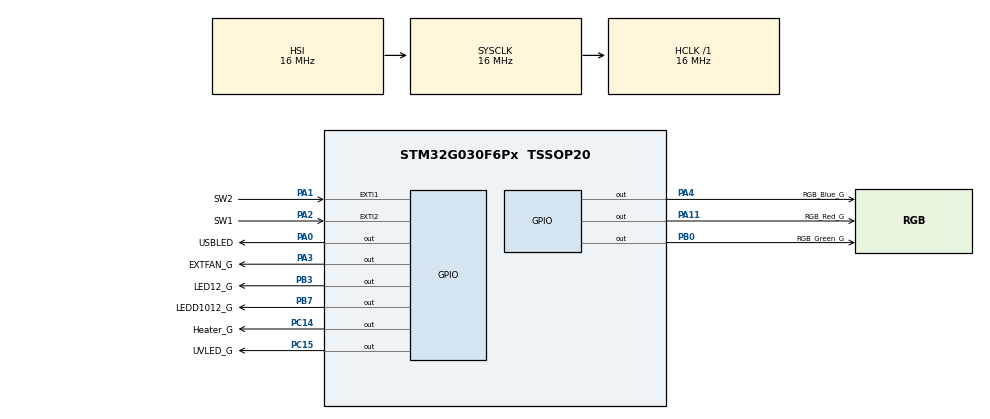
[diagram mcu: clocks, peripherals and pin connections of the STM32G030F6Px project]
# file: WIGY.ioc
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Mcu.Family=STM32G0
Mcu.Name=STM32G030F6Px
Mcu.Package=TSSOP20
NVIC.EXTI0_1_IRQn=true\:0\:0\:false\:false\:true\:true\:true\:true
NVIC.EXTI2_3_IRQn=true\:0\:0\:false\:false\:true\:true\:true\:true
PA0.GPIO_Label=USBLED
PA0.Signal=GPIO_Output
PA1.GPIO_Label=SW2
PA1.GPIO_ModeDefaultEXTI=GPIO_MODE_IT_FALLING
PA1.GPIO_PuPd=GPIO_PULLUP
PA1.Signal=GPXTI1
PA11\ [PA9].GPIO_Label=RGB_Red_G
PA11\ [PA9].GPIO_PuPd=GPIO_NOPULL
PA11\ [PA9].PinState=GPIO_PIN_RESET
PA11\ [PA9].Signal=GPIO_Output
PA13.Mode=Serial_Wire
PA13.Signal=SYS_SWDIO
PA14-BOOT0.Mode=Serial_Wire
PA14-BOOT0.Signal=SYS_SWCLK
PA14-BOOT0__PA15.StandardMode=true
PA2.GPIO_Label=SW1
PA2.GPIO_ModeDefaultEXTI=GPIO_MODE_IT_FALLING
PA2.GPIO_PuPd=GPIO_PULLUP
PA2.Signal=GPXTI2
PA3.GPIO_Label=EXTFAN_G
PA3.GPIO_PuPd=GPIO_NOPULL
PA3.Signal=GPIO_Output
PA4.GPIO_Label=RGB_Blue_G
PA4.GPIO_PuPd=GPIO_NOPULL
PA4.Signal=GPIO_Output
PB0.GPIO_Label=RGB_Green_G
PB0.GPIO_ModeDefaultOutputPP=GPIO_MODE_OUTPUT_PP
PB0.GPIO_PuPd=GPIO_NOPULL
PB0.PinState=GPIO_PIN_RESET
PB0.Signal=GPIO_Output
PB0__PB1__PB2__PA8.StandardMode=true
PB3.GPIO_Label=LED12_G
PB3.GPIO_PuPd=GPIO_NOPULL
PB3.Signal=GPIO_Output
PB3__PB4__PB5__PB6.StandardMode=true
PB7.GPIO_Label=LEDD1012_G
PB7.GPIO_PuPd=GPIO_NOPULL
PB7.Signal=GPIO_Output
PB7__PB8.StandardMode=true
PC14-OSC32_IN\ (PC14).GPIO_Label=Heater_G
PC14-OSC32_IN\ (PC14).Signal=GPIO_Output
PC14-OSC32_IN\ (PC14)__PB9.StandardMode=true
PC15-OSC32_OUT\ (PC15).GPIO_Label=UVLED_G
PC15-OSC32_OUT\ (PC15).GPIO_PuPd=GPIO_NOPULL
PC15-OSC32_OUT\ (PC15).Signal=GPIO_Output
ProjectManager.HeapSize=0x200
ProjectManager.StackSize=0x400
ProjectManager.TargetToolchain=STM32CubeIDE
RCC.AHBFreq_Value=16000000
RCC.CortexFreq_Value=16000000
RCC.EXTERNAL_CLOCK_VALUE=12288000
RCC.HCLKFreq_Value=16000000
RCC.HSE_VALUE=8000000
RCC.HSI_VALUE=16000000
RCC.LSE_VALUE=32768
RCC.SYSCLKFreq_VALUE=16000000
RCC.VCOOutputFreq_Value=128000000
board=custom

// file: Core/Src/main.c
/* USER CODE BEGIN Header */
/**
  ******************************************************************************
  * @file           : main.c
  * @brief          : Main program body
  ******************************************************************************
  * @attention
  *
  * Copyright (c) 2024 STMicroelectronics.
  * All rights reserved.
  *
  * This software is licensed under terms that can be found in the LICENSE file
  * in the root directory of this software component.
  * If no LICENSE file comes with this software, it is provided AS-IS.
  *
  ******************************************************************************
  */
/* USER CODE END Header */
#include "main.h"

/* USER CODE BEGIN Includes */
#include "wigy.h"

/* USER CODE END Includes */

/* USER CODE BEGIN PV */
WIGY_t my_wigy;
//Ptimer_t led_blink;

SW_t SW1, SW2;

/* USER CODE END PV */

void SystemClock_Config(void);
static void MX_GPIO_Init(void);
/* USER CODE BEGIN PFP */
// void initialize_pwp(Ptimer_t* _instance, uint32_t period, int repeat_cnt);
// void process_with_period(Ptimer_t* _instance);
bool SW_readPinSW2(void);
bool SW_readPinSW1(void);
void SW_OnPressedSW2Cbk(SW_t *);
void SW_OnPressedSW1Cbk(SW_t *);
/* USER CODE END PFP */

int main(void)
{

  /* MCU Configuration--------------------------------------------------------*/

  /* Reset of all peripherals, Initializes the Flash interface and the Systick. */
  HAL_Init();

  /* Configure the system clock */
  SystemClock_Config();

  /* Initialize all configured peripherals */
  MX_GPIO_Init();
  /* USER CODE BEGIN 2 */
  //initialize_pwp(&led_blink, 500, 5);

  SW_init(&SW1, true, SW_OnPressedSW1Cbk, SW_readPinSW1);
  SW_init(&SW2, true, SW_OnPressedSW2Cbk, SW_readPinSW2);

  HAL_GPIO_WritePin(USBLED_GPIO_Port, USBLED_Pin, 1);

  Init_wigy(&my_wigy);

  /* USER CODE END 2 */

  /* Infinite loop */
  while (1)
  {

    /* USER CODE BEGIN 3 */
	  process(&my_wigy);
	  //process_with_period(&led_blink);
  }
  /* USER CODE END 3 */
}

void SystemClock_Config(void)
{
  RCC_OscInitTypeDef RCC_OscInitStruct = {0};
  RCC_ClkInitTypeDef RCC_ClkInitStruct = {0};

  /** Configure the main internal regulator output voltage
  */
  HAL_PWREx_ControlVoltageScaling(PWR_REGULATOR_VOLTAGE_SCALE1);

  /** Initializes the RCC Oscillators according to the specified parameters
  * in the RCC_OscInitTypeDef structure.
  */
  RCC_OscInitStruct.OscillatorType = RCC_OSCILLATORTYPE_HSI;
  RCC_OscInitStruct.HSIState = RCC_HSI_ON;
  RCC_OscInitStruct.HSIDiv = RCC_HSI_DIV1;
  RCC_OscInitStruct.HSICalibrationValue = RCC_HSICALIBRATION_DEFAULT;
  RCC_OscInitStruct.PLL.PLLState = RCC_PLL_NONE;
  if (HAL_RCC_OscConfig(&RCC_OscInitStruct) != HAL_OK)
  {
    Error_Handler();
  }

  /** Initializes the CPU, AHB and APB buses clocks
  */
  RCC_ClkInitStruct.ClockType = RCC_CLOCKTYPE_HCLK|RCC_CLOCKTYPE_SYSCLK
                              |RCC_CLOCKTYPE_PCLK1;
  RCC_ClkInitStruct.SYSCLKSource = RCC_SYSCLKSOURCE_HSI;
  RCC_ClkInitStruct.AHBCLKDivider = RCC_SYSCLK_DIV1;
  RCC_ClkInitStruct.APB1CLKDivider = RCC_HCLK_DIV1;

  if (HAL_RCC_ClockConfig(&RCC_ClkInitStruct, FLASH_LATENCY_0) != HAL_OK)
  {
    Error_Handler();
  }
}

static void MX_GPIO_Init(void)
{
  GPIO_InitTypeDef GPIO_InitStruct = {0};

  /* GPIO Ports Clock Enable */
  __HAL_RCC_GPIOB_CLK_ENABLE();
  __HAL_RCC_GPIOC_CLK_ENABLE();
  __HAL_RCC_GPIOA_CLK_ENABLE();

  /*Configure GPIO pin Output Level */
  HAL_GPIO_WritePin(GPIOB, LEDD1012_G_Pin|RGB_Green_G_Pin|LED12_G_Pin, GPIO_PIN_RESET);

  /*Configure GPIO pin Output Level */
  HAL_GPIO_WritePin(GPIOC, Heater_G_Pin|UVLED_G_Pin, GPIO_PIN_RESET);

  /*Configure GPIO pin Output Level */
  HAL_GPIO_WritePin(GPIOA, USBLED_Pin|EXTFAN_G_Pin|RGB_Blue_G_Pin|RGB_Red_G_Pin, GPIO_PIN_RESET);

  /*Configure GPIO pins : LEDD1012_G_Pin RGB_Green_G_Pin LED12_G_Pin */
  GPIO_InitStruct.Pin = LEDD1012_G_Pin|RGB_Green_G_Pin|LED12_G_Pin;
  GPIO_InitStruct.Mode = GPIO_MODE_OUTPUT_PP;
  GPIO_InitStruct.Pull = GPIO_NOPULL;
  GPIO_InitStruct.Speed = GPIO_SPEED_FREQ_LOW;
  HAL_GPIO_Init(GPIOB, &GPIO_InitStruct);

  /*Configure GPIO pins : Heater_G_Pin UVLED_G_Pin */
  GPIO_InitStruct.Pin = Heater_G_Pin|UVLED_G_Pin;
  GPIO_InitStruct.Mode = GPIO_MODE_OUTPUT_PP;
  GPIO_InitStruct.Pull = GPIO_NOPULL;
  GPIO_InitStruct.Speed = GPIO_SPEED_FREQ_LOW;
  HAL_GPIO_Init(GPIOC, &GPIO_InitStruct);

  /*Configure GPIO pins : USBLED_Pin EXTFAN_G_Pin RGB_Blue_G_Pin RGB_Red_G_Pin */
  GPIO_InitStruct.Pin = USBLED_Pin|EXTFAN_G_Pin|RGB_Blue_G_Pin|RGB_Red_G_Pin;
  GPIO_InitStruct.Mode = GPIO_MODE_OUTPUT_PP;
  GPIO_InitStruct.Pull = GPIO_NOPULL;
  GPIO_InitStruct.Speed = GPIO_SPEED_FREQ_LOW;
  HAL_GPIO_Init(GPIOA, &GPIO_InitStruct);

  /*Configure GPIO pins : SW2_Pin SW1_Pin */
  GPIO_InitStruct.Pin = SW2_Pin|SW1_Pin;
  GPIO_InitStruct.Mode = GPIO_MODE_IT_FALLING;
  GPIO_InitStruct.Pull = GPIO_PULLUP;
  HAL_GPIO_Init(GPIOA, &GPIO_InitStruct);

  /* EXTI interrupt init*/
  HAL_NVIC_SetPriority(EXTI0_1_IRQn, 0, 0);
  HAL_NVIC_EnableIRQ(EXTI0_1_IRQn);

  HAL_NVIC_SetPriority(EXTI2_3_IRQn, 0, 0);
  HAL_NVIC_EnableIRQ(EXTI2_3_IRQn);

}

/* USER CODE BEGIN 4 */
// void initialize_pwp(Ptimer_t* _instance, uint32_t period, int repeat_cnt){
// 	_instance->do_flag 		= false;
// 	_instance->period  		= period;
// 	_instance->repeat_cnt	= repeat_cnt;
// }

// void process_with_period(Ptimer_t* _instance){
// 	if(_instance->current_cnt == _instance->repeat_cnt) _instance->do_flag = false;

// 	if(_instance->tick >= _instance->period && (_instance->do_flag == false)){
// 		_instance->do_flag = true;
// 		_instance->tick = 0;
// 		_instance->current_cnt++;
// 	}
// }

void SW_OnPressedSW1Cbk(SW_t *_Instance)
{
  WIGY_NotifyLEDSwPressed(&my_wigy);
}

void SW_OnPressedSW2Cbk(SW_t *_Instance)
{
  WIGY_NotifySystemSwPressed(&my_wigy);
}

bool SW_readPinSW1(void)
{
  return HAL_GPIO_ReadPin(SW1_GPIO_Port, SW1_Pin);
}

bool SW_readPinSW2(void)
{
  return HAL_GPIO_ReadPin(SW2_GPIO_Port, SW2_Pin);
}

/* USER CODE END 4 */

void Error_Handler(void)
{
  __disable_irq();
  while (1)
  {
  }
}
